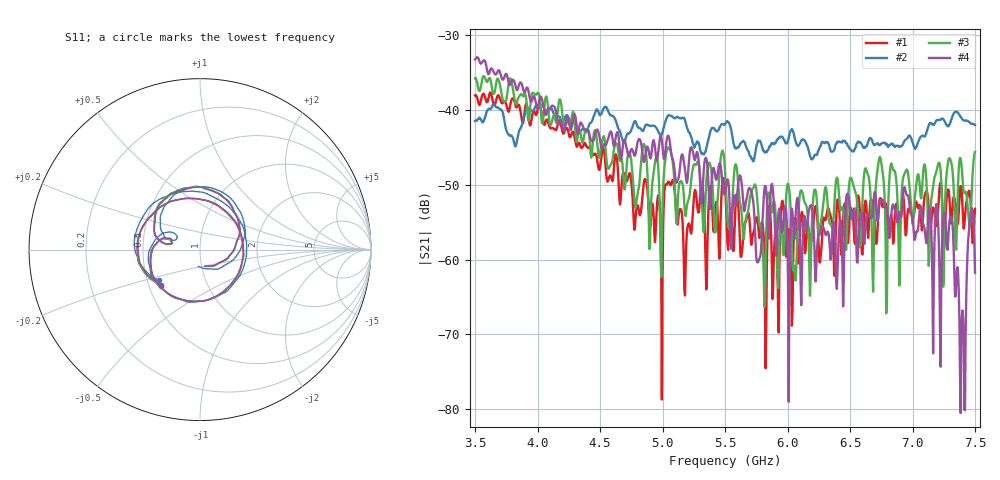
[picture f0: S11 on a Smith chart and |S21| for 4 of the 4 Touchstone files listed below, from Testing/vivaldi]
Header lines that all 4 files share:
!Agilent Technologies,E5071B,MY42403545,A.09.10
!Data & Calibration Information:
!Freq	S11:SOLT2(ON)	S21:SOLT2(ON)	S12:SOLT2(ON)	S22:SOLT2(ON)
# Hz S dB R 50
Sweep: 3.5 GHz to 7.5 GHz
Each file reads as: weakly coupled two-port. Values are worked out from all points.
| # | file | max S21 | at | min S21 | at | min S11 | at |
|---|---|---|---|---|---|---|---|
| 1 | VIVALDIS12.S2P | -37.65 dB | 3.625 GHz | -78.7 dB | 4.995 GHz | -19.8 dB | 7.5 GHz |
| 2 | VIVALDIS12FRONTAL.S2P | -39.20 dB | 3.65 GHz | -46.9 dB | 5.725 GHz | -20.1 dB | 7.5 GHz |
| 3 | VIVALDIS12METAL.S2P | -35.47 dB | 3.57 GHz | -67.2 dB | 6.79 GHz | -19.7 dB | 7.5 GHz |
| 4 | VIVALDIS12SINMETAL.S2P | -32.94 dB | 3.52 GHz | -80.5 dB | 7.385 GHz | -19.7 dB | 7.5 GHz |
